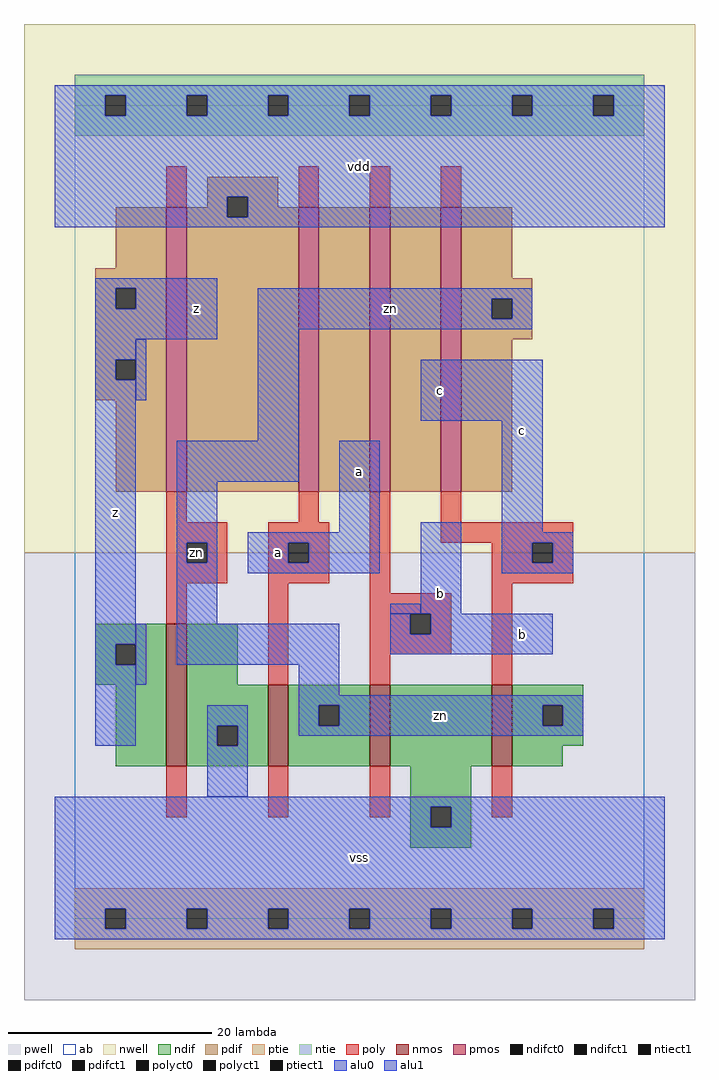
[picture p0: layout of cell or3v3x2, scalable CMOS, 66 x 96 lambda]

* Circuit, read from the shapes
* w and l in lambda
.subckt or3v3x2 a b c vdd vss z zn
M1 vss zn z vss nfet w=14 l=2
M2 zn a vss vss nfet w=8 l=2
M3 vss b zn vss nfet w=8 l=2
M4 zn c vss vss nfet w=8 l=2
M5 vdd zn z vdd pfet w=28 l=2
M6 n1 a vdd vdd pfet w=28 l=2
M7 n2 b n1 vdd pfet w=28 l=2
M8 zn c n2 vdd pfet w=28 l=2
.ends

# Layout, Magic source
magic
tech scmos
<< ab >>
rect 0 0 56 80
<< nwell >>
rect -5 36 61 88
<< pwell >>
rect -5 -8 61 36
<< poly >>
rect 9 70 11 74
rect 22 70 24 74
rect 29 70 31 74
rect 36 70 38 74
rect 9 39 11 42
rect 22 39 24 42
rect 9 37 15 39
rect 9 35 11 37
rect 13 35 15 37
rect 9 33 15 35
rect 19 37 25 39
rect 19 35 21 37
rect 23 35 25 37
rect 19 33 25 35
rect 9 29 11 33
rect 19 23 21 33
rect 29 32 31 42
rect 36 39 38 42
rect 36 37 49 39
rect 41 35 45 37
rect 47 35 49 37
rect 41 33 49 35
rect 29 30 37 32
rect 29 28 33 30
rect 35 28 37 30
rect 29 26 37 28
rect 29 23 31 26
rect 41 23 43 33
rect 9 10 11 15
rect 19 10 21 15
rect 29 10 31 15
rect 41 10 43 15
<< ndif >>
rect 2 27 9 29
rect 2 25 4 27
rect 6 25 9 27
rect 2 23 9 25
rect 4 15 9 23
rect 11 23 16 29
rect 11 19 19 23
rect 11 17 14 19
rect 16 17 19 19
rect 11 15 19 17
rect 21 21 29 23
rect 21 19 24 21
rect 26 19 29 21
rect 21 15 29 19
rect 31 15 41 23
rect 43 21 50 23
rect 43 19 46 21
rect 48 19 50 21
rect 43 17 50 19
rect 43 15 48 17
rect 33 11 39 15
rect 33 9 35 11
rect 37 9 39 11
rect 33 7 39 9
<< pdif >>
rect 13 71 20 73
rect 13 70 15 71
rect 4 64 9 70
rect 2 62 9 64
rect 2 60 4 62
rect 6 60 9 62
rect 2 55 9 60
rect 2 53 4 55
rect 6 53 9 55
rect 2 51 9 53
rect 4 42 9 51
rect 11 69 15 70
rect 17 70 20 71
rect 17 69 22 70
rect 11 42 22 69
rect 24 42 29 70
rect 31 42 36 70
rect 38 63 43 70
rect 38 61 45 63
rect 38 59 41 61
rect 43 59 45 61
rect 38 57 45 59
rect 38 42 43 57
<< alu1 >>
rect -2 81 58 82
rect -2 79 3 81
rect 5 79 11 81
rect 13 79 19 81
rect 21 79 27 81
rect 29 79 35 81
rect 37 79 43 81
rect 45 79 51 81
rect 53 79 58 81
rect -2 71 58 79
rect -2 69 15 71
rect 17 69 58 71
rect -2 68 58 69
rect 2 62 14 63
rect 2 60 4 62
rect 6 60 14 62
rect 2 57 14 60
rect 2 55 6 57
rect 2 53 4 55
rect 2 27 6 53
rect 34 49 46 55
rect 26 38 30 47
rect 17 37 30 38
rect 17 35 21 37
rect 23 35 30 37
rect 17 34 30 35
rect 34 30 38 39
rect 42 38 46 49
rect 42 37 49 38
rect 42 35 45 37
rect 47 35 49 37
rect 42 34 49 35
rect 2 25 4 27
rect 2 17 6 25
rect 31 28 33 30
rect 35 28 47 30
rect 31 26 47 28
rect -2 11 58 12
rect -2 9 35 11
rect 37 9 58 11
rect -2 1 58 9
rect -2 -1 3 1
rect 5 -1 11 1
rect 13 -1 19 1
rect 21 -1 27 1
rect 29 -1 35 1
rect 37 -1 43 1
rect 45 -1 51 1
rect 53 -1 58 1
rect -2 -2 58 -1
<< ptie >>
rect 0 1 56 3
rect 0 -1 3 1
rect 5 -1 11 1
rect 13 -1 19 1
rect 21 -1 27 1
rect 29 -1 35 1
rect 37 -1 43 1
rect 45 -1 51 1
rect 53 -1 56 1
rect 0 -3 56 -1
<< ntie >>
rect 0 81 56 83
rect 0 79 3 81
rect 5 79 11 81
rect 13 79 19 81
rect 21 79 27 81
rect 29 79 35 81
rect 37 79 43 81
rect 45 79 51 81
rect 53 79 56 81
rect 0 77 56 79
<< nmos >>
rect 9 15 11 29
rect 19 15 21 23
rect 29 15 31 23
rect 41 15 43 23
<< pmos >>
rect 9 42 11 70
rect 22 42 24 70
rect 29 42 31 70
rect 36 42 38 70
<< polyct0 >>
rect 11 35 13 37
<< polyct1 >>
rect 21 35 23 37
rect 45 35 47 37
rect 33 28 35 30
<< ndifct0 >>
rect 14 17 16 19
rect 24 19 26 21
rect 46 19 48 21
<< ndifct1 >>
rect 4 25 6 27
rect 35 9 37 11
<< ntiect1 >>
rect 3 79 5 81
rect 11 79 13 81
rect 19 79 21 81
rect 27 79 29 81
rect 35 79 37 81
rect 43 79 45 81
rect 51 79 53 81
<< ptiect1 >>
rect 3 -1 5 1
rect 11 -1 13 1
rect 19 -1 21 1
rect 27 -1 29 1
rect 35 -1 37 1
rect 43 -1 45 1
rect 51 -1 53 1
<< pdifct0 >>
rect 41 59 43 61
<< pdifct1 >>
rect 4 60 6 62
rect 4 53 6 55
rect 15 69 17 71
<< alu0 >>
rect 18 61 45 62
rect 18 59 41 61
rect 43 59 45 61
rect 18 58 45 59
rect 6 51 7 57
rect 18 47 22 58
rect 10 43 22 47
rect 10 37 14 43
rect 10 35 11 37
rect 13 35 14 37
rect 10 29 14 35
rect 31 30 34 31
rect 6 23 7 29
rect 10 25 26 29
rect 22 22 26 25
rect 22 21 50 22
rect 13 19 17 21
rect 13 17 14 19
rect 16 17 17 19
rect 22 19 24 21
rect 26 19 46 21
rect 48 19 50 21
rect 22 18 50 19
rect 13 12 17 17
<< labels >>
rlabel polyct0 12 36 12 36 6 zn
rlabel alu0 36 20 36 20 6 zn
rlabel alu0 31 60 31 60 6 zn
rlabel alu1 4 40 4 40 6 z
rlabel alu1 20 36 20 36 6 a
rlabel alu1 12 60 12 60 6 z
rlabel alu1 28 6 28 6 6 vss
rlabel alu1 36 32 36 32 6 b
rlabel alu1 28 44 28 44 6 a
rlabel alu1 36 52 36 52 6 c
rlabel alu1 28 74 28 74 6 vdd
rlabel alu1 44 28 44 28 6 b
rlabel alu1 44 48 44 48 6 c
<< end >>
